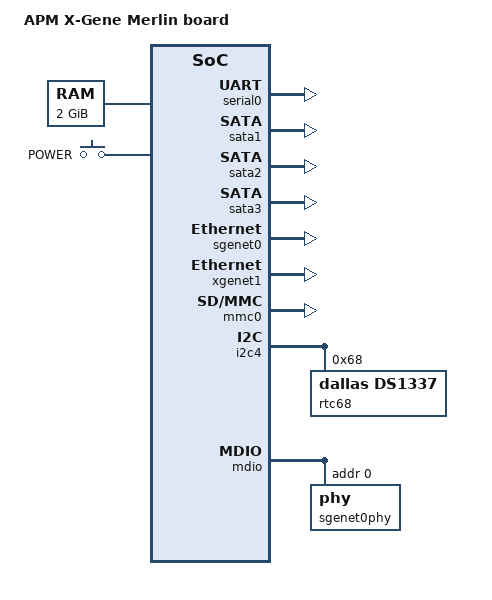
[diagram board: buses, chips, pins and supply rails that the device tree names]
// SPDX-License-Identifier: GPL-2.0-or-later
/*
 * dts file for AppliedMicro (APM) Merlin Board
 *
 * Copyright (C) 2015, Applied Micro Circuits Corporation
 */

/dts-v1/;

/include/ "apm-shadowcat.dtsi"

/ {
	model = "APM X-Gene Merlin board";
	compatible = "apm,merlin", "apm,xgene-shadowcat";

	chosen { };

	memory {
		device_type = "memory";
		reg = < 0x1 0x00000000 0x0 0x80000000 >;
	};

	gpio-keys {
		compatible = "gpio-keys";
		button {
			label = "POWER";
			linux,code = <116>;
			linux,input-type = <0x1>;
			interrupt-parent = <&sbgpio>;
			interrupts = <0x0 0x1>;
		};
	};

	poweroff_mbox: poweroff_mbox@10548000 {
		compatible = "syscon";
		reg = <0x0 0x10548000 0x0 0x30>;
	};

	poweroff: poweroff@10548010 {
		compatible = "syscon-poweroff";
		regmap = <&poweroff_mbox>;
		offset = <0x10>;
		mask = <0x1>;
	};
};

&serial0 {
	status = "ok";
};

&sata1 {
	status = "ok";
};

&sata2 {
	status = "ok";
};

&sata3 {
	status = "ok";
};

&sgenet0 {
	status = "ok";
};

&xgenet1 {
	status = "ok";
};

&mmc0 {
	status = "ok";
};

&i2c4 {
	rtc68: rtc@68 {
		compatible = "dallas,ds1337";
		reg = <0x68>;
		status = "ok";
	};
};

&mdio {
	sgenet0phy: phy@0 {
		reg = <0x0>;
	};
};
